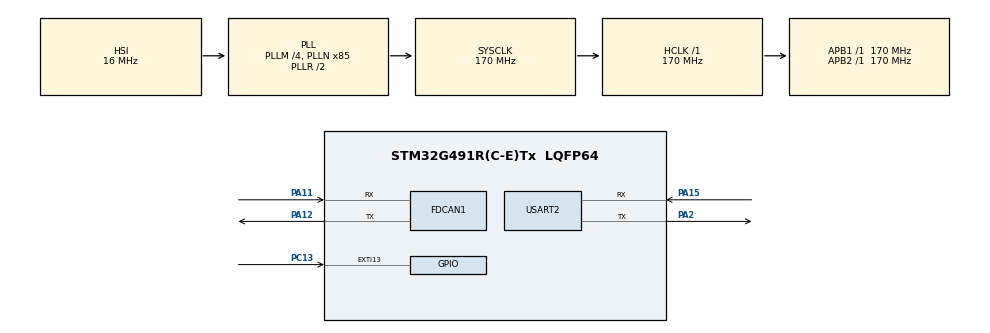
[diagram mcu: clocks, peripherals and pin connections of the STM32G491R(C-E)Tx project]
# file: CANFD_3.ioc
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FDCAN1.CalculateBaudRateNominal=125000
FDCAN1.CalculateTimeBitNominal=8000
FDCAN1.CalculateTimeQuantumNominal=400.0
FDCAN1.NominalPrescaler=68
FDCAN1.NominalTimeSeg1=15
FDCAN1.NominalTimeSeg2=4
Mcu.Family=STM32G4
Mcu.Name=STM32G491R(C-E)Tx
Mcu.Package=LQFP64
NUCLEO-G491RE.BUTTON=1
NUCLEO-G491RE.LD2=true
NUCLEO-G491RE.VCP=true
NVIC.EXTI15_10_IRQn=true\:0\:0\:false\:false\:true\:false\:true\:true
NVIC.PriorityGroup=NVIC_PRIORITYGROUP_4
PA11.Mode=FDCAN_Activate
PA11.Signal=FDCAN1_RX
PA12.Mode=FDCAN_Activate
PA12.Signal=FDCAN1_TX
PA13.GPIO_Label=T_SWDIO
PA13.Signal=SYS_JTMS-SWDIO
PA14.GPIO_Label=T_SWCLK
PA14.Signal=SYS_JTCK-SWCLK
PA15.Mode=Asynchronous
PA15.Signal=USART2_RX
PA2.Mode=Asynchronous
PA2.Signal=USART2_TX
PA3.Signal=LPUART1_RX
PB3.GPIO_Label=T_SWO
PB3.Signal=SYS_JTDO-SWO
PC13.GPIO_ModeDefaultEXTI=GPIO_MODE_IT_FALLING
PC13.Signal=GPXTI13
PC14-OSC32_IN.GPIO_Label=RCC_OSC32_IN
PC14-OSC32_IN.Signal=RCC_OSC32_IN
PC15-OSC32_OUT.GPIO_Label=RCC_OSC32_OUT
PC15-OSC32_OUT.Signal=RCC_OSC32_OUT
PF0-OSC_IN.GPIO_Label=RCC_OSC_IN
PF0-OSC_IN.Signal=RCC_OSC_IN
PF1-OSC_OUT.GPIO_Label=RCC_OSC_OUT
PF1-OSC_OUT.Signal=RCC_OSC_OUT
ProjectManager.HeapSize=0x200
ProjectManager.StackSize=0x400
ProjectManager.TargetToolchain=STM32CubeIDE
RCC.ADC12Freq_Value=170000000
RCC.ADC345Freq_Value=170000000
RCC.AHBFreq_Value=170000000
RCC.APB1Freq_Value=170000000
RCC.APB1TimFreq_Value=170000000
RCC.APB2Freq_Value=170000000
RCC.APB2TimFreq_Value=170000000
RCC.CortexFreq_Value=170000000
RCC.EXTERNAL_CLOCK_VALUE=12288000
RCC.HCLKFreq_Value=170000000
RCC.HSE_VALUE=24000000
RCC.HSI48_VALUE=48000000
RCC.HSI_VALUE=16000000
RCC.LSE_VALUE=32768
RCC.PLLM=RCC_PLLM_DIV4
RCC.PLLN=85
RCC.RTCClockSelection=RCC_RTCCLKSOURCE_LSE
RCC.SYSCLKFreq_VALUE=170000000
RCC.SYSCLKSource=RCC_SYSCLKSOURCE_PLLCLK
RCC.USBFreq_Value=48000000
RCC.VCOOutputFreq_Value=340000000
USART2.VirtualMode-Asynchronous=VM_ASYNC
VP_NUCLEO-G491RE_VS_BSP_COMMON.Mode=COMMON
VP_SYS_VS_DBSignals.Mode=DisableDeadBatterySignals
board=NUCLEO-G491RE

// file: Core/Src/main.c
/* USER CODE BEGIN Header */
/**
  ******************************************************************************
  * @file           : main.c
  * @brief          : Main program body
  ******************************************************************************
  * @attention
  *
  * Copyright (c) 2026 STMicroelectronics.
  * All rights reserved.
  *
  * This software is licensed under terms that can be found in the LICENSE file
  * in the root directory of this software component.
  * If no LICENSE file comes with this software, it is provided AS-IS.
  *
  ******************************************************************************
  */
/* USER CODE END Header */
#include "main.h"

COM_InitTypeDef BspCOMInit;
FDCAN_HandleTypeDef hfdcan1;

UART_HandleTypeDef huart2;

/* USER CODE BEGIN PV */
int _write(int file, char *ptr, int len)
{
  HAL_UART_Transmit(&huart2, (uint8_t*)ptr, len, HAL_MAX_DELAY);
  return len;
}

FDCAN_TxHeaderTypeDef TxHeader;
uint8_t TxData[8] = {0x40,0x40,0x08,0x40,0x00,0x00,0x40,0x00};
volatile uint8_t b1_pressed = 0;
/* USER CODE END PV */

void SystemClock_Config(void);
static void MX_GPIO_Init(void);
static void MX_FDCAN1_Init(void);
static void MX_USART2_UART_Init(void);

int main(void)
{

  /* MCU Configuration--------------------------------------------------------*/

  /* Reset of all peripherals, Initializes the Flash interface and the Systick. */
  HAL_Init();

  /* Configure the system clock */
  SystemClock_Config();

  /* Initialize all configured peripherals */
  MX_GPIO_Init();
  MX_FDCAN1_Init();
  MX_USART2_UART_Init();
  /* USER CODE BEGIN 2 */

  TxHeader.Identifier = 0x094;                  // 11-bit ID
  TxHeader.IdType = FDCAN_STANDARD_ID;
  TxHeader.TxFrameType = FDCAN_DATA_FRAME;
  TxHeader.DataLength = FDCAN_DLC_BYTES_8;
  TxHeader.ErrorStateIndicator = FDCAN_ESI_ACTIVE;
  TxHeader.BitRateSwitch = FDCAN_BRS_OFF;       // Classic CAN
  TxHeader.FDFormat = FDCAN_CLASSIC_CAN;        // Classic CAN
  TxHeader.TxEventFifoControl = FDCAN_NO_TX_EVENTS;
  TxHeader.MessageMarker = 0;

  if (HAL_FDCAN_Start(&hfdcan1) != HAL_OK)
   {
     printf("FDCAN start ERROR\r\n");
   }
   else
   {
     printf("FDCAN started OK\r\n");
   }
   /* USER CODE END 2 */

  printf("Ready: press B1 to send CAN\r\n");

  /* Initialize led */
  BSP_LED_Init(LED_GREEN);

  /* Initialize USER push-button, will be used to trigger an interrupt each time it's pressed.*/
//  BSP_PB_Init(BUTTON_USER, BUTTON_MODE_EXTI);

  /* Initialize COM1 port (115200, 8 bits (7-bit data + 1 stop bit), no parity */
  /*
  BspCOMInit.BaudRate   = 115200;
  BspCOMInit.WordLength = COM_WORDLENGTH_8B;
  BspCOMInit.StopBits   = COM_STOPBITS_1;
  BspCOMInit.Parity     = COM_PARITY_NONE;
  BspCOMInit.HwFlowCtl  = COM_HWCONTROL_NONE;
  if (BSP_COM_Init(COM1, &BspCOMInit) != BSP_ERROR_NONE)
  {
    Error_Handler();
  }
*/
  /* Infinite loop */
  while (1)
  {
	  if (b1_pressed)
	    {
	      b1_pressed = 0;

	  //    TxData[0]++;   // optional rolling increment

	      if (HAL_FDCAN_AddMessageToTxFifoQ(&hfdcan1, &TxHeader, TxData) == HAL_OK)
	      {
	        printf("TX OK: ID=0x%03lX Data=%02X %02X %02X %02X %02X %02X %02X %02X\r\n",
	               (unsigned long)TxHeader.Identifier,
	               TxData[0],TxData[1],TxData[2],TxData[3],
	               TxData[4],TxData[5],TxData[6],TxData[7]);
	      }
	      else
	      {
	        uint32_t err = HAL_FDCAN_GetError(&hfdcan1);
	        printf("TX ERROR: 0x%08lX\r\n", (unsigned long)err);
	      }
	    }
  }
}
void SystemClock_Config(void)
{
  RCC_OscInitTypeDef RCC_OscInitStruct = {0};
  RCC_ClkInitTypeDef RCC_ClkInitStruct = {0};

  /** Configure the main internal regulator output voltage
  */
  HAL_PWREx_ControlVoltageScaling(PWR_REGULATOR_VOLTAGE_SCALE1_BOOST);

  /** Initializes the RCC Oscillators according to the specified parameters
  * in the RCC_OscInitTypeDef structure.
  */
  RCC_OscInitStruct.OscillatorType = RCC_OSCILLATORTYPE_HSI;
  RCC_OscInitStruct.HSIState = RCC_HSI_ON;
  RCC_OscInitStruct.HSICalibrationValue = RCC_HSICALIBRATION_DEFAULT;
  RCC_OscInitStruct.PLL.PLLState = RCC_PLL_ON;
  RCC_OscInitStruct.PLL.PLLSource = RCC_PLLSOURCE_HSI;
  RCC_OscInitStruct.PLL.PLLM = RCC_PLLM_DIV4;
  RCC_OscInitStruct.PLL.PLLN = 85;
  RCC_OscInitStruct.PLL.PLLP = RCC_PLLP_DIV2;
  RCC_OscInitStruct.PLL.PLLQ = RCC_PLLQ_DIV2;
  RCC_OscInitStruct.PLL.PLLR = RCC_PLLR_DIV2;
  if (HAL_RCC_OscConfig(&RCC_OscInitStruct) != HAL_OK)
  {
    Error_Handler();
  }

  /** Initializes the CPU, AHB and APB buses clocks
  */
  RCC_ClkInitStruct.ClockType = RCC_CLOCKTYPE_HCLK|RCC_CLOCKTYPE_SYSCLK
                              |RCC_CLOCKTYPE_PCLK1|RCC_CLOCKTYPE_PCLK2;
  RCC_ClkInitStruct.SYSCLKSource = RCC_SYSCLKSOURCE_PLLCLK;
  RCC_ClkInitStruct.AHBCLKDivider = RCC_SYSCLK_DIV1;
  RCC_ClkInitStruct.APB1CLKDivider = RCC_HCLK_DIV1;
  RCC_ClkInitStruct.APB2CLKDivider = RCC_HCLK_DIV1;

  if (HAL_RCC_ClockConfig(&RCC_ClkInitStruct, FLASH_LATENCY_4) != HAL_OK)
  {
    Error_Handler();
  }
}

static void MX_FDCAN1_Init(void)
{

  hfdcan1.Instance = FDCAN1;
  hfdcan1.Init.ClockDivider = FDCAN_CLOCK_DIV1;
  hfdcan1.Init.FrameFormat = FDCAN_FRAME_CLASSIC;
  hfdcan1.Init.Mode = FDCAN_MODE_NORMAL;
 // hfdcan1.Init.AutoRetransmission = DISABLE;
  hfdcan1.Init.AutoRetransmission = ENABLE;
  hfdcan1.Init.TransmitPause = DISABLE;
  hfdcan1.Init.ProtocolException = DISABLE;
  hfdcan1.Init.NominalPrescaler = 68;
  hfdcan1.Init.NominalSyncJumpWidth = 1;
  hfdcan1.Init.NominalTimeSeg1 = 15;
  hfdcan1.Init.NominalTimeSeg2 = 4;
  hfdcan1.Init.DataPrescaler = 1;
  hfdcan1.Init.DataSyncJumpWidth = 1;
  hfdcan1.Init.DataTimeSeg1 = 1;
  hfdcan1.Init.DataTimeSeg2 = 1;
  hfdcan1.Init.StdFiltersNbr = 0;
  hfdcan1.Init.ExtFiltersNbr = 0;
  hfdcan1.Init.TxFifoQueueMode = FDCAN_TX_FIFO_OPERATION;
  if (HAL_FDCAN_Init(&hfdcan1) != HAL_OK)
  {
    Error_Handler();
  }

}

static void MX_USART2_UART_Init(void)
{

  huart2.Instance = USART2;
  huart2.Init.BaudRate = 115200;
  huart2.Init.WordLength = UART_WORDLENGTH_8B;
  huart2.Init.StopBits = UART_STOPBITS_1;
  huart2.Init.Parity = UART_PARITY_NONE;
  huart2.Init.Mode = UART_MODE_TX_RX;
  huart2.Init.HwFlowCtl = UART_HWCONTROL_NONE;
  huart2.Init.OverSampling = UART_OVERSAMPLING_16;
  huart2.Init.OneBitSampling = UART_ONE_BIT_SAMPLE_DISABLE;
  huart2.Init.ClockPrescaler = UART_PRESCALER_DIV1;
  huart2.AdvancedInit.AdvFeatureInit = UART_ADVFEATURE_NO_INIT;
  if (HAL_UART_Init(&huart2) != HAL_OK)
  {
    Error_Handler();
  }
  if (HAL_UARTEx_SetTxFifoThreshold(&huart2, UART_TXFIFO_THRESHOLD_1_8) != HAL_OK)
  {
    Error_Handler();
  }
  if (HAL_UARTEx_SetRxFifoThreshold(&huart2, UART_RXFIFO_THRESHOLD_1_8) != HAL_OK)
  {
    Error_Handler();
  }
  if (HAL_UARTEx_DisableFifoMode(&huart2) != HAL_OK)
  {
    Error_Handler();
  }

}

static void MX_GPIO_Init(void)
{
  GPIO_InitTypeDef GPIO_InitStruct = {0};

  /* GPIO Ports Clock Enable */
  __HAL_RCC_GPIOC_CLK_ENABLE();
  __HAL_RCC_GPIOF_CLK_ENABLE();
  __HAL_RCC_GPIOA_CLK_ENABLE();
  __HAL_RCC_GPIOB_CLK_ENABLE();

  /*Configure GPIO pin : PC13 */
  GPIO_InitStruct.Pin = GPIO_PIN_13;
  GPIO_InitStruct.Mode = GPIO_MODE_IT_FALLING;
  GPIO_InitStruct.Pull = GPIO_NOPULL;
  HAL_GPIO_Init(GPIOC, &GPIO_InitStruct);

  /* EXTI interrupt init*/
  HAL_NVIC_SetPriority(EXTI15_10_IRQn, 0, 0);
  HAL_NVIC_EnableIRQ(EXTI15_10_IRQn);

}

/* USER CODE BEGIN 4 */
void HAL_GPIO_EXTI_Callback(uint16_t GPIO_Pin)
  {
    if (GPIO_Pin == GPIO_PIN_13)   // PC13 = B1
    {
      b1_pressed = 1;
    }
  }
/* USER CODE END 4 */

void Error_Handler(void)
{
  __disable_irq();
  while (1)
  {
  }
}
